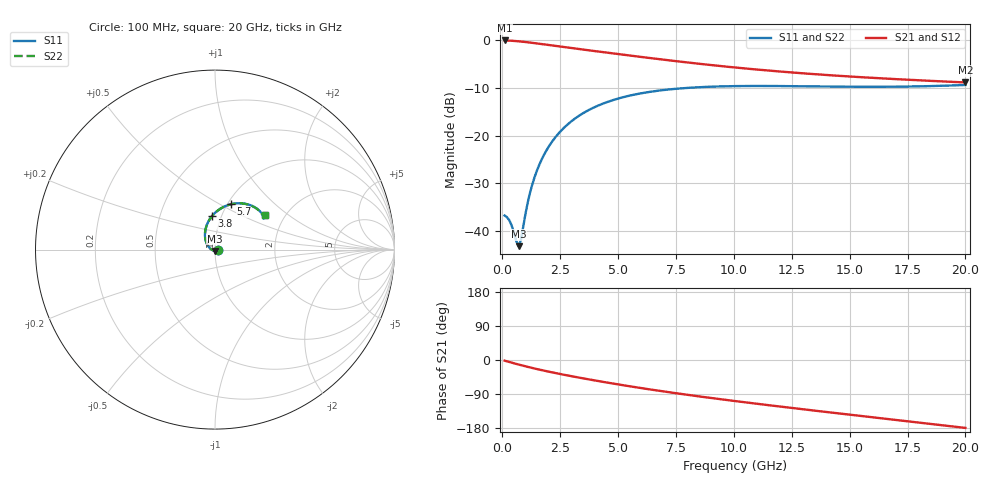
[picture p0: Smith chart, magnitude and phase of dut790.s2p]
! Touchstone file exported from HFSS 2024.1.0
!  File:  C:/UserFiles/LocalFiles/RDL_TSV_Batchsim/temp_RDL_TSV_790_1779907495.aedt
!  Generated:  03:02:32 AM May 28, 2026
!  Design:  RDL_TSV
!  Project:  temp_RDL_TSV_790_1779907495
!  Setup:  Setup1
!  Solution:  Sweep
! Variables:
!  dtsv = 13.26um
!  hbump = 3um
!  htsv = 72.89um
!  ldown = 218.97um
!  lrdl = 432.09um
!  p = 40
!  p1 = 56.59um
!  rhole = 10um
!  subl = 2385.27um
!  t = 450um
!  tdown = 4.26um
!  trdl = 2.53um
!  viad = 10um
!  wdown = 24.84um
!  wrdl = 20.08um
!  xbump = 18um
# GHz S MA R 50.000000
! Terminal data exported
! Port[1] = TM1_1_T1
! Port[2] = TM1_4_T1
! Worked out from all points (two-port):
!   200 points, 100 MHz to 20 GHz, reference 50 ohm
!   highest |S21| = -0.13 dB at 100 MHz (marker M1); lowest = -8.9 dB at 20 GHz (marker M2)
!   |S21| within 3 dB of the highest: start of sweep to 5.258 GHz
!   lowest |S11| = -43.1 dB at 700 MHz (marker M3), VSWR 1.01, Z = 49.9 - j0.694 ohm
!   |S11| at or under -10 dB: start of sweep to 8.148 GHz
!   |S22| runs from -43.1 to -9.5 dB; largest |S21 - S12| = 9.3e-15
!   S11 on the Smith chart (normalised r, x): 100 MHz: 1.03, -0.00; 3.8 GHz: 0.90, +0.35; 5.7 GHz: 1.04, +0.56; 20 GHz: 1.59, +0.69
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0.1  0.01457 -5.5  0.9847 -1.8  0.9847 -1.8  0.01457 -5.5
! Gamma 0 0 0 0
! Port Impedance 50 0 50 0
0.3  0.01303 -19.6  0.9806 -5.3  0.9806 -5.3  0.01303 -19.6
0.4  0.01156 -29.4  0.9775 -7.0  0.9775 -7.0  0.01157 -29.4
0.6  0.007927 -63.8  0.9696 -10.3  0.9696 -10.3  0.007936 -63.7
0.7  0.006976 -95.3  0.965 -11.9  0.965 -11.9  0.006979 -95.2
0.8  0.008 -130.5  0.9599 -13.5  0.9599 -13.5  0.00799 -130.4
1  0.01514 -171.9  0.9486 -16.6  0.9486 -16.6  0.01511 -171.9
1.2  0.02536 169.2  0.9363 -19.7  0.9363 -19.7  0.02531 169.2
1.4  0.03705 157.2  0.9232 -22.6  0.9232 -22.6  0.03697 157.2
1.7  0.05613 144.2  0.9031 -26.7  0.9031 -26.7  0.05602 144.2
2.1  0.08287 131.0  0.8763 -32.0  0.8763 -32.0  0.08272 131.0
2.5  0.1097 120.4  0.8503 -37.0  0.8503 -37.0  0.1095 120.3
3.5  0.1716 99.9  0.7901 -48.6  0.7901 -48.6  0.1713 99.9
3.8  0.1881 94.9  0.7732 -51.9  0.7732 -51.9  0.1878 94.9
4.7  0.2311 82.1  0.7251 -61.4  0.7251 -61.4  0.2306 82.1
5.7  0.2675 70.8  0.6759 -71.3  0.6759 -71.3  0.2669 70.8
6.8  0.2955 60.9  0.6268 -81.5  0.6268 -81.5  0.2948 60.9
8.4  0.3188 50.1  0.5654 -95.2  0.5654 -95.2  0.318 50.0
10.1  0.3283 42.1  0.5124 -108.7  0.5124 -108.7  0.3275 42.0
13.4  0.3261 34.1  0.4391 -133.0  0.4391 -133.0  0.3253 34.0
16.7  0.3232 32.9  0.3917 -156.2  0.3917 -156.2  0.3223 32.8
20  0.3374 34.6  0.3586 -179.2  0.3586 -179.2  0.3364 34.5
